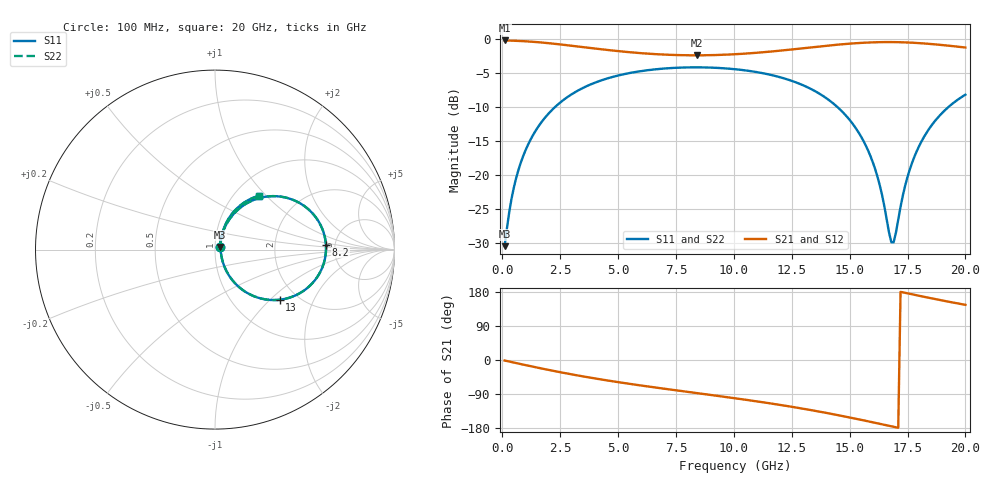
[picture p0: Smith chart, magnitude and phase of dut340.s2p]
! Touchstone file exported from HFSS 2026.1.0
!  File:  C:/ffzhzh/LocalFiles/Ansys_Project_Files/temp_train_TSV_RDL_340_1783034526_53980.aedt
!  Generated:  07:39:08 AM Jul  3, 2026
!  Design:  TSV_RDL
!  Project:  temp_train_TSV_RDL_340_1783034526_53980
! Variables:
!  h_bsmrdl = 3.4um
!  h_ox = 20um
!  h_rdl = 5um
!  h_sub = 66.06um
!  h_tmrdl = 4.55um
!  h_tsv = 66.06um
!  h_via = 3um
!  l_bsmrdl = 317.48um
!  l_sub = 3559.15um
!  l_tmrdl = 525.72um
!  m_sub = 200um
!  pitch = 44.77um
!  r_tsv = 2.58um
!  s_tmrdl = 10um
!  w_bsmrdl = 22.78um
!  w_sub = 500um
!  w_tmrdl = 11.83um
!  x_tsv_center1 = 531.635um
!  x_tsv_center2 = 871.895um
!  x_tsv_center3 = 1409.445um
!  x_tsv_center4 = 1749.705um
!  x_tsv_center5 = 2287.255um
!  x_tsv_center6 = 2627.515um
# GHz S MA R 50.000000
! Terminal data exported
! Port[1] = TM_RDL1_1_T1
! Port[2] = TM_RDL5_1_T1
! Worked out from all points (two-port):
!   200 points, 100 MHz to 20 GHz, reference 50 ohm
!   highest |S21| = -0.23 dB at 100 MHz (marker M1); lowest = -2.4 dB at 8.4 GHz (marker M2)
!   |S21| within 3 dB of the highest: start of sweep to end of sweep
!   lowest |S11| = -30.4 dB at 100 MHz (marker M3), VSWR 1.06, Z = 52.7 + j1.6 ohm
!   |S11| at or under -10 dB: start of sweep to 2.276 GHz; 14.48 GHz to 19.27 GHz (4.79 GHz wide, 28.4 % of centre)
!   |S22| runs from -30.4 to -4.2 dB; largest |S21 - S12| = 1.7e-14
!   S11 on the Smith chart (normalised r, x): 100 MHz: 1.05, +0.03; 8.2 GHz: 4.21, +0.38; 13 GHz: 1.63, -1.15; 20 GHz: 1.29, +0.92
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0.1  0.03018 30.2  0.9742 -1.4  0.9742 -1.4  0.03018 30.2
! Gamma 0 0 0 0
! Port Impedance 50 0 50 0
0.5  0.08144 63.7  0.9698 -6.8  0.9698 -6.8  0.08144 63.7
0.8  0.1239 66.2  0.9648 -10.8  0.9648 -10.8  0.1239 66.2
1.2  0.1797 64.9  0.9558 -16.1  0.9558 -16.1  0.1797 64.9
2.2  0.3075 56.0  0.923 -28.6  0.923 -28.6  0.3075 56.0
3.5  0.4383 42.8  0.87 -43.4  0.87 -43.4  0.4383 42.8
6.8  0.6026 13.6  0.7701 -74.2  0.7701 -74.2  0.6026 13.6
8.2  0.6186 2.6  0.7581 -85.7  0.7581 -85.7  0.6186 2.6
8.4  0.6187 1.0  0.758 -87.3  0.758 -87.3  0.6187 1.0
10.1  0.5983 -12.4  0.7728 -101.4  0.7728 -101.4  0.5983 -12.4
13  0.4563 -37.7  0.8544 -128.6  0.8544 -128.6  0.4563 -37.7
13.4  0.4233 -41.6  0.8691 -132.9  0.8691 -132.9  0.4234 -41.6
14.7  0.2906 -54.2  0.9142 -148.0  0.9142 -148.0  0.2906 -54.2
15.6  0.1782 -61.2  0.9372 -159.2  0.9372 -159.2  0.1782 -61.1
16.2  0.09795 -60.2  0.9458 -167.0  0.9458 -167.0  0.09801 -60.1
16.7  0.03819 -29.9  0.9479 -173.6  0.9479 -173.6  0.03834 -29.7
16.8  0.03229 -9.8  0.9478 -174.9  0.9478 -174.9  0.03248 -9.7
16.9  0.03219 14.6  0.9474 -176.2  0.9474 -176.2  0.03238 14.5
17.5  0.09718 65.6  0.9414 175.9  0.9414 175.9  0.09724 65.5
18.2  0.1894 66.3  0.9266 166.9  0.9266 166.9  0.1894 66.2
19  0.2868 60.0  0.9018 157.1  0.9018 157.1  0.2868 59.9
20  0.3898 50.5  0.8646 145.6  0.8646 145.6  0.3898 50.5
